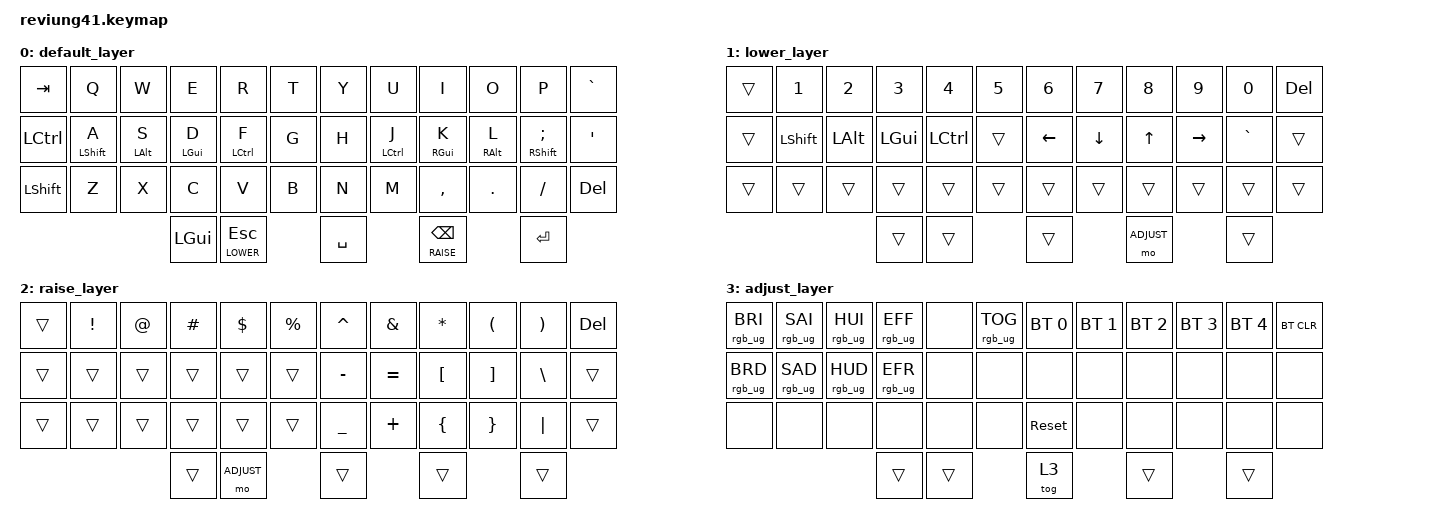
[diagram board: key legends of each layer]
/*
 * Copyright (c) 2020 The ZMK Contributors
 *
 * SPDX-License-Identifier: MIT
 */

#include <behaviors.dtsi>
#include <dt-bindings/zmk/keys.h>
#include <dt-bindings/zmk/bt.h>
#include <dt-bindings/zmk/rgb.h>

#define BASE 0
#define LOWER 1
#define RAISE 2
#define ADJUST 3

/ {
    behaviors {
        bhm: balanced_homerow_mods {
            flavor = "balanced";
            compatible = "zmk,behavior-hold-tap";
            #binding-cells = <2>;
            tapping-term-ms = <280>;
            quick-tap-ms = <175>;
            require-prior-idle-ms = <150>;
            bindings = <&kp>, <&kp>;
        };
    };

   // Activate ADJUST layer by pressing raise and lower
    conditional_layers {
        compatible = "zmk,conditional-layers";
        adjust_layer {
            if-layers = <LOWER RAISE>;
            then-layer = <ADJUST>;
        };
    };
        keymap {
                compatible = "zmk,keymap";

                default_layer {
// -------------------------------------------------------------------------------------
// |  TAB  |  Q  |  W  |  E  |  R  |  T  |   |  Y  |  U   |  I  |  O  |  P  | `  |
// | LCTRL  |  A  |  S  |  D  |  F  |  G  |   |  H  |  J   |  K  |  L  |  ;  |   '  |
// | SHFT |  Z  |  X  |  C  |  V  |  B  |   |  N  |  M   |  ,  |  .  |  /  |  DEL |
//                         | CMD | LWR,ESC | SPC | RSE,BSPC  | ALT |
                        bindings = <
   &kp TAB   &kp Q &kp W &kp E &kp R &kp T   &kp Y &kp U  &kp I     &kp O   &kp P    &kp GRAVE
   &kp LCTRL &bhm LSHIFT A  &bhm LALT S  &bhm LGUI D  &bhm LCTRL F  &kp G   &kp H   &bhm LCTRL J &bhm RGUI K &bhm RALT L &bhm RSHIFT SEMI &kp SQT
   &kp LSHFT &kp Z &kp X &kp C &kp V &kp B   &kp N &kp M  &kp COMMA &kp DOT &kp FSLH &kp DEL
                        &kp LGUI  &lt LOWER ESC &kp SPACE &lt RAISE BSPC  &kp RET
                        >;
                };

                lower_layer {
// ------------------------------------------------------------------------------------
// |    |  1  |  2  |  3  |  4  |  5  |   |  6  |  7  |  8  |  9  |  0  |     DEL     |
// |    |  _  |  +  |  {  |  }  | "|" |   | LFT | DWN |  UP | RGT |  `  |       ~     |
// |    | ESC | GUI | ALT | CAPS|  "  |   | HOME| END | PGUP| PGDN| PRSC| SHFT(SPACE) |
//                       |     |     | RET | ADJ |     |
                        bindings = <
   &trans &kp N1    &kp N2    &kp N3    &kp N4    &kp N5        &kp N6    &kp N7    &kp N8    &kp N9    &kp N0    &kp DEL
   &trans &kp LSHIFT &kp LALT    &kp LGUI &kp LCTRL &trans       &kp LEFT  &kp DOWN &kp UP    &kp RIGHT &kp GRAVE &trans
   &trans &trans   &trans    &trans &trans &trans        &trans  &trans  &trans &trans &trans &trans
                                 &trans      &trans       &trans        &mo ADJUST       &trans
                        >;
                };

                raise_layer {
// ----------------------------------------------------------------------------
// |    |  !  |  @  |  #  |  $  |  %  |   |  ^  |  &  |  *  |  (  |  )  | DEL |
// |    |  -  |  =  |  [  |  ]  |  \  |   | F1  | F2  | F3  | F4  | F5  | F6  |
// |    | ESC | GUI | ALT | CAPS|  "  |   | F7  | F8  | F9  | F10 | F11 | F12 |
//                       |     | ADJ | BKSP |    |     |
                        bindings = <
   &trans &kp EXCL  &kp AT      &kp HASH &kp DLLR &kp PRCNT      &kp CARET &kp AMPS &kp ASTRK &kp LPAR  &kp RPAR  &kp DEL
   &trans &trans    &trans    &trans    &trans    &trans        &kp MINUS &kp EQUAL &kp LBKT  &kp RBKT  &kp BSLH  &trans
   &trans &trans    &trans    &trans    &trans    &trans        &kp UNDER &kp PLUS  &kp LBRC  &kp RBRC  &kp PIPE  &trans
                                &trans      &mo ADJUST       &trans        &trans      &trans
                        >;
                };

                adjust_layer {
// -----------------------------------------------------------------------------------------
// | RGB BRI+ | RGB SAT+ | RGB HUE+ | RGB ANI+ |    | RGB TOG |   |  BT1  | BT2 | BT3 | BT4 | BT5 | BT CLR |
// | RGB BRI- | RGB SAT- | RGB HUE- | RGB ANI- |    |         |   |       |     |     |     |     |        |
// |          |          |          |          |    |         |   | RESET |     |     |     |     |        |
//                                              |     |     |     |     |     |
                        bindings = <
   &rgb_ug RGB_BRI &rgb_ug RGB_SAI &rgb_ug RGB_HUI &rgb_ug RGB_EFF &none &rgb_ug RGB_TOG    &bt BT_SEL 0 &bt BT_SEL 1 &bt BT_SEL 2 &bt BT_SEL 3 &bt BT_SEL 4 &bt BT_CLR
   &rgb_ug RGB_BRD &rgb_ug RGB_SAD &rgb_ug RGB_HUD &rgb_ug RGB_EFR &none &none              &none        &none        &none        &none        &none        &none
   &none           &none           &none           &none           &none &none              &sys_reset       &none        &none        &none        &none        &none
                                                             &trans      &trans       &tog 3        &trans      &trans
                        >;
                };
        };
};
